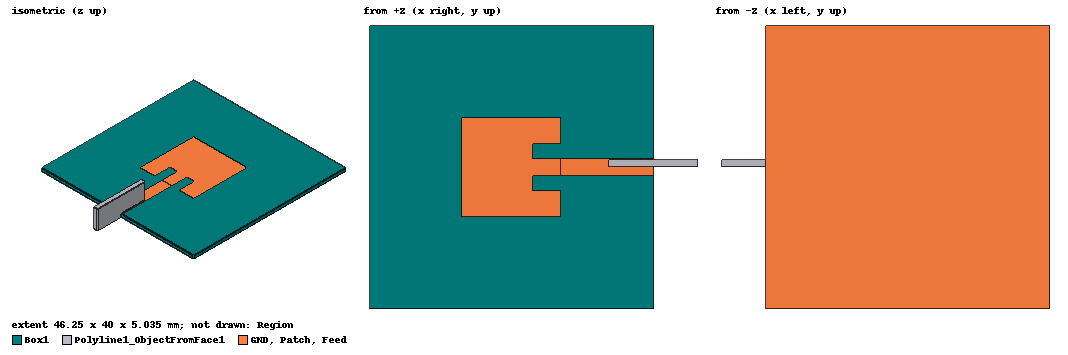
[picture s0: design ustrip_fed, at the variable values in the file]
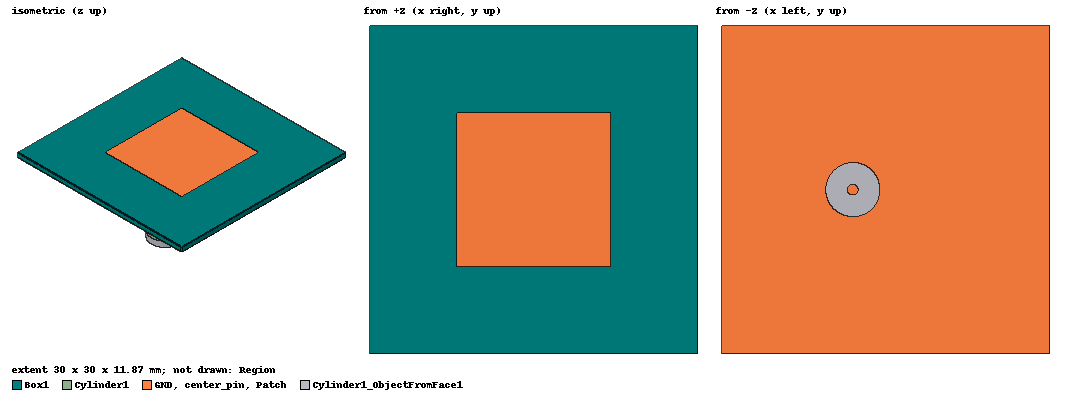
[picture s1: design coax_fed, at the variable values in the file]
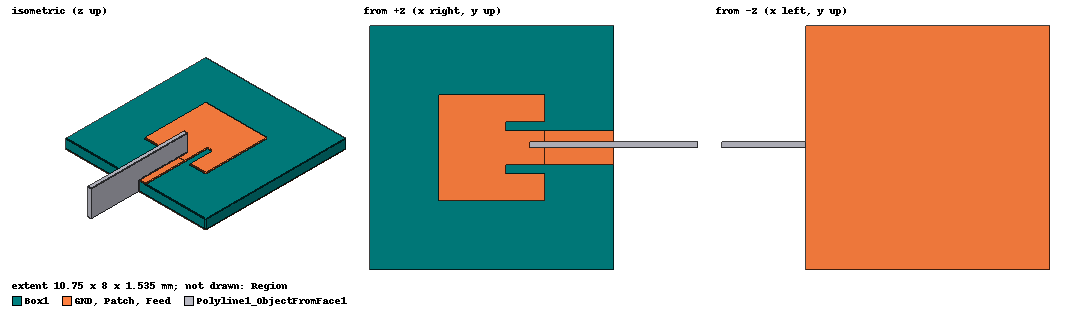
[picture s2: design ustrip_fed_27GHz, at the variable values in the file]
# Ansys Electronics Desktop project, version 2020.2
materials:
  vacuum: permittivity=1
  Rogers RO3003 (tm): permittivity=3 dielectric_loss_tangent=0.0013
  copper: permeability=0.999991 conductivity=58000000
  pec: conductivity=1e+30
  Teflon (tm): permittivity=2.1 dielectric_loss_tangent=0.001
  Rogers RT/duroid 5870 (tm): permittivity=2.33 dielectric_loss_tangent=0.0012

design ustrip_fed (HFSS, DrivenModal, model units mm)
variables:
  sub = 40mm
  sub_h = 0.8mm
  patch_x = 14mm
  patch_y = 14mm
  feed_w = 2.5mm
  slot_x = 4mm
  slot_y = 2mm
  metal_thickness = 35um
  port_w = feed_w*5
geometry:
  Box1 [Rogers RO3003 (tm)] = box(corner=(-sub/2, -sub/2, 0mm), size=(sub, sub, sub_h))
  Patch [copper] = rectangle(corner=(-patch_x/2, -patch_y/2, sub_h), x_size=patch_x, y_size=patch_y)
  Patch.thicken(0.035mm)
  Feed [copper] = polyline((sub/2, 0mm, sub_h) (patch_x/2, 0mm, sub_h), section line width=feed_w)
  Feed.thicken(-0.035mm)
  GND [copper] = box(corner=(-sub/2, -sub/2, 0mm), size=(sub, sub, -0.035mm))
  slot1 = box(corner=(patch_x/2, feed_w/2, sub_h), size=(-slot_x, slot_y, metal_thickness))
  slot2 = box(corner=(patch_x/2, -feed_w/2, sub_h), size=(-slot_x, -slot_y, metal_thickness))
  Patch.subtract(slot1, slot2)
  Polyline1 = polyline((sub/2, 0mm, 0mm) (sub/2, 0mm, 5mm), section line width=port_w)
  Region [vacuum] = region(absolute_offset: +X=40mm, -X=40mm, +Y=40mm, -Y=40mm, +Z=40mm, -Z=10mm)
  Polyline1_ObjectFromFace1 [pec] = object_from(Polyline1.face)
  Polyline1_ObjectFromFace1.thicken(-1mm)
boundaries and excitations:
  Rad1: Radiation Objects=Region
  1: Wave Port Faces=Polyline1.face NumModes=1 Modes{Mode1{IntLine{middle of Polyline1.edge(at (20, 0, 0)) -> middle of Feed.edge(at (20, 0, 0.835))} CharImp=Zpi}}
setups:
  Setup1: HfssDriven Frequency=5.9GHz MaxDeltaS=0.02 MaximumPasses=6 MinimumPasses=1 MinimumConvergedPasses=1 PercentRefinement=30 BasisOrder=1 PortAccuracy=2
    sweep Sweep: 5GHz to 7GHz, 451 points; Type=Fast SaveFields
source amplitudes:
  1:1: 1W 0deg
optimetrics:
  ParametricSetup1: Parametric disabled Sim._Setups=[Setup1]
    sweep slot_x: LIN 1mm 4mm 1mm
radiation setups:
  Infinite Sphere1: Infinite Sphere Theta=-180deg..180deg step 2deg Phi=-180deg..180deg step 2deg
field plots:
  Mag_Jsurf1: Jsurf over Patch.face(all 14) Feed.face(all 6) on Setup1 : LastAdaptive at Freq=5.9GHz Phase=0deg
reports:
  S Parameter Plot 1: dB(S(1,1)) vs Freq on Setup1 : Sweep [sub=all sub_h=all patch_x=all patch_y=all slot_x=all slot_y=all]
  S Parameter Plot 2: dB(S(1,1)) vs Freq on Setup1 : Sweep [slot_x=all]

design coax_fed (HFSS, DrivenModal, model units mm)
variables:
  sub = 30mm
  sub_h = 0.8mm
  patch_x = 14mm
  patch_y = 14mm
  feed_w = 2.5mm
  slot_x = 6mm
  slot_y = 3mm
  metal_thickness = 35um
  port_w = feed_w*5
  metal = -10mm
  coax_x = 3mm
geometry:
  Box1 [Rogers RO3003 (tm)] = box(corner=(-sub/2, -sub/2, 0mm), size=(sub, sub, sub_h))
  Patch [copper] = rectangle(corner=(-patch_x/2, -patch_y/2, sub_h), x_size=patch_x, y_size=patch_y)
  Patch.thicken(0.035mm)
  GND [copper] = box(corner=(-sub/2, -sub/2, 0mm), size=(sub, sub, -0.035mm))
  Region [vacuum] = region(absolute_offset: +X=40mm, -X=40mm, +Y=40mm, -Y=40mm, +Z=40mm, -Z=10mm)
  Cylinder1 [Teflon (tm)] = cylinder(axis=Z, base_centre=(coax_x, 0mm, 0mm), radius=(4.95/2) mm, height=-10mm-metal_thickness)
  center_pin [copper] = cylinder(axis=Z, base_centre=(coax_x, 0mm, sub_h), radius=(1/2) mm, height=-10mm-sub_h-metal_thickness)
  Cylinder1_1 = Cylinder1.copy()
  GND.subtract(Cylinder1_1)
  center_pin_1 = center_pin.copy()
  Box1.subtract(center_pin_1)
  center_pin_2 = center_pin.copy()
  Cylinder1.subtract(center_pin_2)
  center_pin_3 = center_pin.copy()
  Patch.subtract(center_pin_3)
  Cylinder1_ObjectFromFace1 [pec] = object_from(Cylinder1.face(2 of 3))
  Cylinder1_ObjectFromFace1.thicken(1mm)
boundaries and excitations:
  Rad1: Radiation Objects=Region
  PerfE1: Perfect E Faces=Cylinder1.face(1 of 3)
  1: Wave Port Faces=Cylinder1.face(2 of 3) NumModes=1 Modes{Mode1{IntLine{Cylinder1.face(2 of 3) -> Cylinder1.edge(1 of 2) at -0.25 along} CharImp=Zpi}}
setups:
  Setup1: HfssDriven Frequency=5.9GHz MaxDeltaS=0.02 MaximumPasses=6 MinimumPasses=1 MinimumConvergedPasses=1 PercentRefinement=30 BasisOrder=1 PortAccuracy=2
    sweep Sweep: 5GHz to 7GHz, 451 points; Type=Fast SaveFields
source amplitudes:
  1:1: 1W 0deg
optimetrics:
  ParametricSetup1: Parametric disabled Sim._Setups=[Setup1]
    sweep coax_x: LIN 5mm 10mm 1mm
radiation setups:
  Infinite Sphere1: Infinite Sphere Theta=-180deg..180deg step 2deg Phi=-180deg..180deg step 2deg
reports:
  S Parameter Plot 1: dB(S(1,1)) vs Freq on Setup1 : Sweep [sub=all]; markers m1 at 5.6711111GHz, m2 at 5.7733333GHz

design ustrip_fed_27GHz (HFSS, DrivenModal, model units mm)
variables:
  sub = 8mm
  sub_h = 0.508mm
  patch_x = 3.5mm
  patch_y = 3.5mm
  feed_w = 1.1mm
  slot_x = 1.3mm
  slot_y = 0.3mm
  metal_thickness = 35um
  port_w = feed_w*5
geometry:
  Box1 [Rogers RT/duroid 5870 (tm)] = box(corner=(-sub/2, -sub/2, 0mm), size=(sub, sub, sub_h))
  Patch [copper] = rectangle(corner=(-patch_x/2, -patch_y/2, sub_h), x_size=patch_x, y_size=patch_y)
  Patch.thicken(0.035mm)
  Feed [copper] = polyline((sub/2, 0mm, sub_h) (patch_x/2, 0mm, sub_h), section line width=feed_w)
  Feed.thicken(-0.035mm)
  GND [copper] = box(corner=(-sub/2, -sub/2, 0mm), size=(sub, sub, -0.035mm))
  slot1 = box(corner=(patch_x/2, feed_w/2, sub_h), size=(-slot_x, slot_y, metal_thickness))
  slot2 = box(corner=(patch_x/2, -feed_w/2, sub_h), size=(-slot_x, -slot_y, metal_thickness))
  Patch.subtract(slot1, slot2)
  Polyline1 = polyline((sub/2, 0mm, 0mm) (sub/2, 0mm, 1.5mm), section line width=port_w)
  Region [vacuum] = region(absolute_offset: +X=8mm, -X=8mm, +Y=8mm, -Y=8mm, +Z=8mm, -Z=2mm)
  Polyline1_ObjectFromFace1 [pec] = object_from(Polyline1.face)
  Polyline1_ObjectFromFace1.thicken(-0.2mm)
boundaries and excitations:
  Rad1: Radiation Objects=Region
  1: Wave Port Faces=Polyline1.face NumModes=1 Modes{Mode1{IntLine{middle of Polyline1.edge(at (4, 0, 0)) -> middle of Feed.edge(at (4, 0, 0.543))} CharImp=Zpi}}
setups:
  Setup1: HfssDriven Frequency=27GHz MaxDeltaS=0.015 MaximumPasses=8 MinimumPasses=1 MinimumConvergedPasses=1 PercentRefinement=30 BasisOrder=1 PortAccuracy=2
    sweep Sweep: 24GHz to 30GHz, 251 points; Type=Fast SaveFields
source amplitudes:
  1:1: 1W 0deg
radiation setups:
  Infinite Sphere1: Infinite Sphere Theta=-180deg..180deg step 2deg Phi=-180deg..180deg step 2deg
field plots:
  Mag_Jsurf1: Jsurf over Feed.face(all 6) on Setup1 : LastAdaptive at Freq=27GHz Phase=0deg
  Mag_Jsurf2: Jsurf over Feed.face(at (2.875, 0, 0.543)) Patch.face(at (0, 0, 0.543)) on Setup1 : LastAdaptive at Freq=27GHz Phase=0deg
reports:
  S Parameter Plot 1: dB(S(1,1)) vs Freq on Setup1 : Sweep; markers MX1 at x=2.6417598e+10, MX2 at x=2.7360335e+10
  Gain Plot 1: dB(GainTotal) vs Phi, Theta on Setup1 : LastAdaptive, Infinite Sphere1 [Freq=27GHz]
  Gain Plot 3: dB(GainTotal) vs Theta on Setup1 : LastAdaptive, Infinite Sphere1 [Phi=0deg Freq=27GHz]; dB(GainTotal) vs Theta on Setup1 : LastAdaptive, Infinite Sphere1 [Phi=90deg Freq=27GHz]
